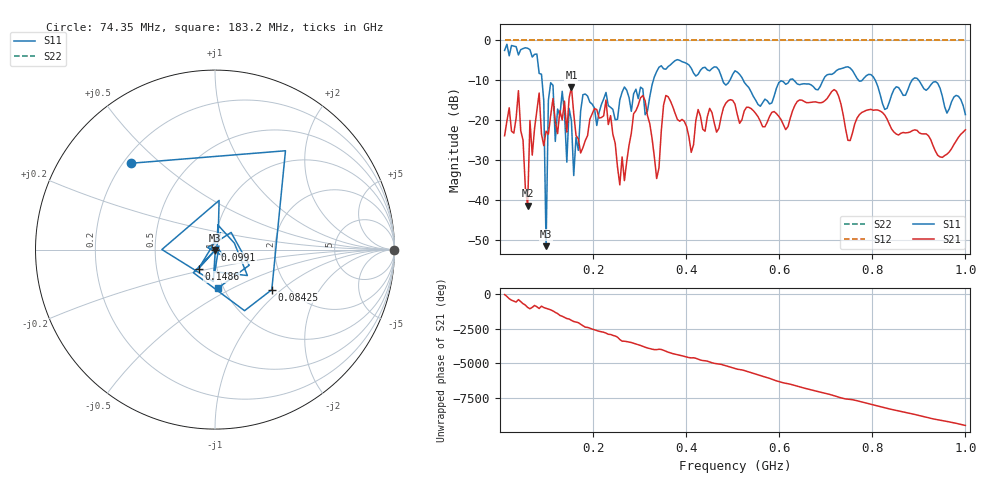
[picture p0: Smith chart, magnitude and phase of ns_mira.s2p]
! Anritsu VNA Master:  Model: MS2024B
! SN:  2417009
! /card0/usr/ns_mira.s2p
! Existing Calibration Information:
! TYPE:  Current Settings,  Active Cal Settings
! TIME:  10/26/2026 12:23:42 PM,  10/26/2026 11:43:50 AM
! INTERNAL TEMP:  51.3 C,  42.8 C
! # POINTS:  201,  201
! START FREQ:  10.000 MHz,  10.000 MHz
! STOP FREQ:  1.000 GHz,  1.000 GHz
! SOURCE POWER:  Default,  Default
! IFBW:  1 kHz,  1 kHz
! AVG FACTOR:  1 ,  1
! REF PLANE 1:  0 mm,  0 mm
! REF PLANE 2:  0 mm,  0 mm
! CAL TYPE:  1P2P S11,S21,  1P2P S11,S21
! CAL METHOD:  SOLT,  SOLT
! CAL LINE TYPE:  Coax,  Coax
! DUT PORT 1:  N-Conn(M),  N-Conn(M)
! DUT PORT 2:  N-Conn(M),  N-Conn(M)
! CAL STATUS:  ?T: Accuracy moderate (|Temp diff| > 5.0 C),  --
# GHZ S DB R 50.0
! FREQ.GHZ  S11DB  S11A  S21DB  S21A  S12DB  S12A  S22DB  S22A
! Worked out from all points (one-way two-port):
!   201 points, 10 MHz to 1 GHz, reference 50 ohm
!   highest |S21| = -11.61 dB at 153.6 MHz (marker M1); lowest = -41.3 dB at 59.5 MHz (marker M2)
!   lowest |S11| = -51.4 dB at 99.1 MHz (marker M3), VSWR 1.01, Z = 50.2 - j0.217 ohm
!   |S11| at or under -10 dB: 90.36 MHz to 329.5 MHz (239.2 MHz wide, 114 % of centre); 522.9 MHz to 622.3 MHz (99.4 MHz wide, 17.4 % of centre); 900 MHz to end of sweep (the widest 3 of 7)
!   |S22| runs from 0.0 to 0.0 dB; largest |S21 - S12| = 1.2
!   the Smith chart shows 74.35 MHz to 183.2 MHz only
!   S11 on the Smith chart (normalised r, x): 74.35 MHz: 0.23, +0.40; 84.25 MHz: 1.64, -0.86; 99.1 MHz: 1.00, -0.00; 148.6 MHz: 0.81, -0.18; 183.2 MHz: 0.95, -0.42
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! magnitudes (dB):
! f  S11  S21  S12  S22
! 10 MHz  -2.5  -23.8  0.0  0.0
! 39.7 MHz  -3.6  -12.6  0.0  0.0
! 59.5 MHz  -1.9  -41.3  0.0  0.0
! 74.35 MHz  -3.5  -22.0  0.0  0.0
! 84.25 MHz  -8.2  -13.1  0.0  0.0
! 94.15 MHz  -15.1  -26.3  0.0  0.0
! 99.1 MHz  -51.4  -22.7  0.0  0.0
! 104 MHz  -15.0  -23.4  0.0  0.0
! 109 MHz  -10.6  -18.7  0.0  0.0
! 148.6 MHz  -17.0  -14.4  0.0  0.0
! 153.6 MHz  -20.1  -11.6  0.0  0.0
! 178.3 MHz  -13.6  -26.8  0.0  0.0
! 183.2 MHz  -13.4  -25.0  0.0  0.0
! 227.8 MHz  -13.0  -14.9  0.0  0.0
! 257.5 MHz  -14.9  -36.1  0.0  0.0
! 307 MHz  -12.1  -13.8  0.0  0.0
! 341.6 MHz  -6.7  -31.9  0.0  0.0
! 356.5 MHz  -7.2  -13.8  0.0  0.0
! 505 MHz  -7.6  -15.9  0.0  0.0
! 673.3 MHz  -11.5  -15.4  0.0  0.0
! 836.6 MHz  -15.4  -20.9  0.0  0.0
! 1 GHz  -18.5  -22.3  0.0  0.0
